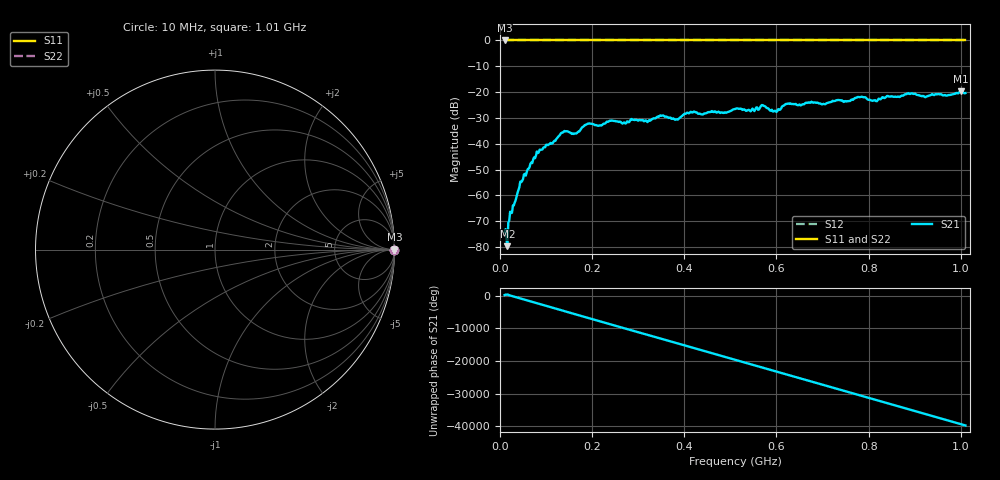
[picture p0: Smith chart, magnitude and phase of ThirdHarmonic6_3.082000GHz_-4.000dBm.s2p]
! 8/17/2025 9:02:18 AM
! C:\ANRITSUVNA\TEMP\TEMP.S2P
! CHANNEL.1
! TR.MEASUREMENT
! RAW.DATA
! RF.CORRECTION.OFF
! AVERAGING.OFF
! IF.BANDWIDTH: 5KHZ
! SWEEPTYPE:  FREQ.SWEEP(Linear)
! Reference Plane Port Info
! PORT:  PORT1  PORT2
! DISTANCE:  0  m  0  m
! TIME:  0  s  0  s
! PHASE.OFFSET:  0  deg.  0  deg.
! LOSS:  0  dB  0  dB
! REF.LOSS:  0  dB  0  dB
! REF.FREQ:  0  Hz  0  Hz
! Power Info
! POWER:  -20  dBm  -20  dBm
! EFF.POWER:  -20  dBm  -20  dBm
! SOURCE.ATTEN:  0  dB  0  dB
! TEST.ATTEN:  0  dB  0  dB
# GHZ S RI R 50.0
! FREQ.GHZ  S11RE  S11IM  S21RE  S21IM  S12RE  S12IM  S22RE  S22IM
!; PortSelection: Port_12
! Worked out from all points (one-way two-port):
!   501 points, 10 MHz to 1.01 GHz, reference 50 ohm
!   highest |S21| = -19.75 dB at 1 GHz (marker M1); lowest = -79.6 dB at 16 MHz (marker M2)
!   lowest |S11| = 0.0 dB at 10 MHz (marker M3)
!   |S11| at or under -10 dB: nowhere
!   |S22| runs from 0.0 to 0.0 dB; largest |S21 - S12| = 1.1
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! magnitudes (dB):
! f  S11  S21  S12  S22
! 10 MHz  0.0  -74.2  0.0  0.0
! 16 MHz  0.0  -79.6  0.0  0.0
! 22 MHz  0.0  -66.3  0.0  0.0
! 42 MHz  0.0  -56.8  0.0  0.0
! 82 MHz  0.0  -43.6  0.0  0.0
! 136 MHz  0.0  -35.7  0.0  0.0
! 162 MHz  0.0  -36.0  0.0  0.0
! 178 MHz  0.0  -33.7  0.0  0.0
! 344 MHz  0.0  -29.6  0.0  0.0
! 384 MHz  0.0  -30.5  0.0  0.0
! 418 MHz  0.0  -27.9  0.0  0.0
! 510 MHz  0.0  -26.5  0.0  0.0
! 548 MHz  0.0  -26.4  0.0  0.0
! 570 MHz  0.0  -25.0  0.0  0.0
! 596 MHz  0.0  -27.2  0.0  0.0
! 622 MHz  0.0  -24.6  0.0  0.0
! 678 MHz  0.0  -24.0  0.0  0.0
! 782 MHz  0.0  -21.9  0.0  0.0
! 814 MHz  0.0  -23.1  0.0  0.0
! 844 MHz  0.0  -21.7  0.0  0.0
! 1 GHz  0.0  -19.7  0.0  0.0
! 1.01 GHz  0.0  -20.4  0.0  0.0
